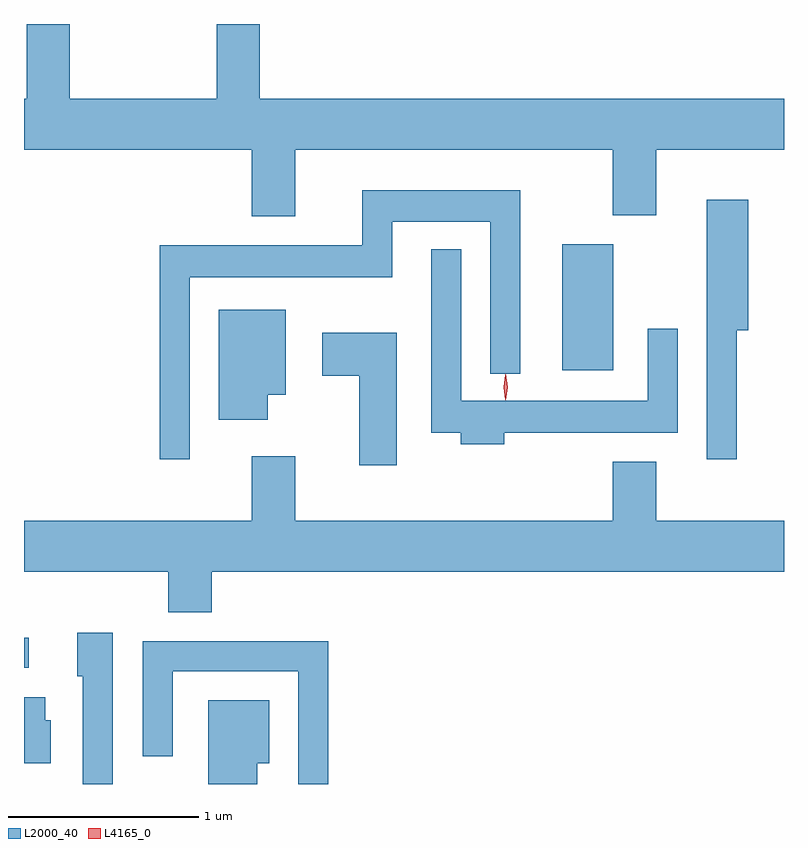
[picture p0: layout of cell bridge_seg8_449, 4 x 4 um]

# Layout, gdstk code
import gdstk
lib = gdstk.Library(unit=1e-6, precision=1e-09)
def R(c, l, rs):  # rectangles x0, y0, x1, y1
    for r in rs: c.add(gdstk.rectangle(r[:2], r[2:], *l))
def P(c, l, *ps):  # polygons
    for p in ps: c.add(gdstk.Polygon(p, *l))
L2000_40 = (2000, 40)
L4165_0 = (4165, 0)

bridge_seg8_449 = lib.new_cell('bridge_seg8_449')
R(bridge_seg8_449, L2000_40, [(565.032,1933.591,565.058,1933.749), (567.866,1935.156,568.134,1935.819)])
P(bridge_seg8_449, L2000_40, [(566.459,1936.316),(568.131,1936.316),(568.131,1935.971),(568.359,1935.971),(568.359,1936.316),(569.032,1936.316),(569.032,1936.584),(566.274,1936.584),(566.274,1936.978),(566.046,1936.978),(566.046,1936.584),(565.274,1936.584),(565.274,1936.978),(565.046,1936.978),(565.046,1936.584),(565.032,1936.584),(565.032,1936.316),(566.231,1936.316),(566.231,1935.966),(566.459,1935.966)],
  [(565.904,1935.646),(566.969,1935.646),(566.969,1935.936),(567.486,1935.936),(567.486,1935.138),(567.644,1935.138),(567.644,1936.104),(566.811,1936.104),(566.811,1935.814),(565.746,1935.814),(565.746,1934.688),(565.904,1934.688)],
  [(568.784,1935.366),(568.844,1935.366),(568.844,1936.054),(568.626,1936.054),(568.626,1934.688),(568.784,1934.688)],
  [(567.559,1934.826),(568.474,1934.826),(568.474,1935.373),(568.316,1935.373),(568.316,1934.994),(567.334,1934.994),(567.334,1935.793),(567.176,1935.793),(567.176,1934.826),(567.331,1934.826),(567.331,1934.766),(567.559,1934.766)],
  [(566.314,1935.026),(566.409,1935.026),(566.409,1935.474),(566.056,1935.474),(566.056,1934.896),(566.314,1934.896)],
  [(566.994,1935.354),(566.601,1935.354),(566.601,1935.126),(566.796,1935.126),(566.796,1934.656),(566.994,1934.656)],
  [(566.019,1934.096),(569.032,1934.096),(569.032,1934.364),(568.359,1934.364),(568.359,1934.674),(568.131,1934.674),(568.131,1934.364),(566.459,1934.364),(566.459,1934.704),(566.231,1934.704),(566.231,1934.364),(565.032,1934.364),(565.032,1934.096),(565.791,1934.096),(565.791,1933.881),(566.019,1933.881)],
  [(565.499,1933.774),(565.311,1933.774),(565.311,1933.546),(565.341,1933.546),(565.341,1932.978),(565.499,1932.978)],
  [(566.634,1933.729),(565.656,1933.729),(565.656,1933.123),(565.814,1933.123),(565.814,1933.571),(566.476,1933.571),(566.476,1932.978),(566.634,1932.978)],
  [(565.174,1933.314),(565.144,1933.314),(565.144,1933.434),(565.032,1933.434),(565.032,1933.086),(565.174,1933.086)],
  [(566.259,1933.086),(566.324,1933.086),(566.324,1933.419),(566.001,1933.419),(566.001,1932.978),(566.259,1932.978)])
P(bridge_seg8_449, L4165_0, [(567.567,1934.997),(567.558,1935.067),(567.567,1935.136),(567.568,1935.136),(567.568,1935.136),(567.578,1935.067),(567.568,1934.997),(567.568,1934.997)],
  [(567.565,1935),(567.556,1935.066),(567.565,1935.132),(567.566,1935.133),(567.566,1935.132),(567.576,1935.066),(567.566,1935),(567.566,1935)])

lib.write_gds('bridge_seg8_449.gds')
